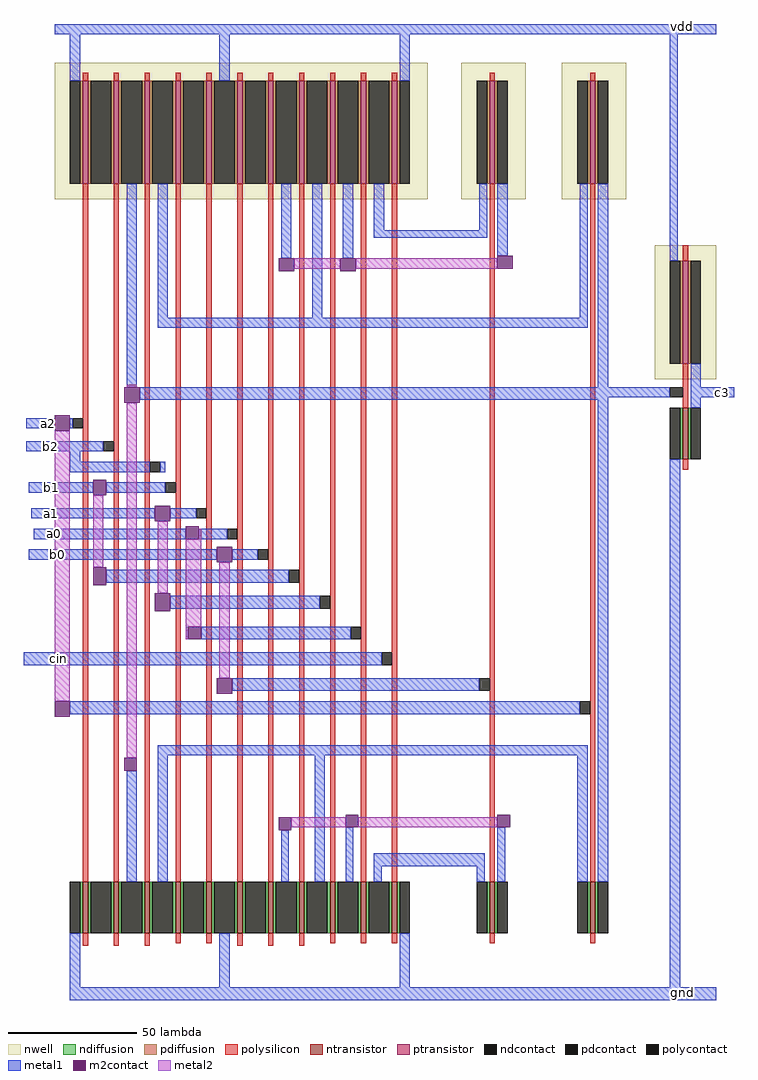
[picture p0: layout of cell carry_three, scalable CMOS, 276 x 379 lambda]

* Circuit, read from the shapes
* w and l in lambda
.subckt carry_three a0 a1 a2 b0 b1 b2 c3 cin gnd vdd
M1 n1 a2 gnd VSUBS nfet w=20 l=2
M2 n2 b2 n1 VSUBS nfet w=20 l=2
M3 n3 b2 n2 VSUBS nfet w=20 l=2
M4 n4 b1 n3 VSUBS nfet w=20 l=2
M5 gnd a1 n4 VSUBS nfet w=20 l=2
M6 n5 a0 gnd VSUBS nfet w=20 l=2
M7 n6 b0 n5 VSUBS nfet w=20 l=2
M8 n3 b1 n6 VSUBS nfet w=20 l=2
M9 n6 a1 n3 VSUBS nfet w=20 l=2
M10 n7 a0 n6 VSUBS nfet w=20 l=2
M11 gnd cin n7 VSUBS nfet w=20 l=2
M12 n6 b0 n7 VSUBS nfet w=20 l=2
M13 n2 a2 n3 VSUBS nfet w=20 l=2
M14 c3 n2 gnd VSUBS nfet w=20 l=2
M15 n8 a2 vdd n9 pfet w=40 l=2
M16 n2 b2 n8 n9 pfet w=40 l=2
M17 n10 b2 n2 n9 pfet w=40 l=2
M18 n11 b1 n10 n9 pfet w=40 l=2
M19 vdd a1 n11 n9 pfet w=40 l=2
M20 n12 a0 vdd n9 pfet w=40 l=2
M21 n13 b0 n12 n9 pfet w=40 l=2
M22 n10 b1 n13 n9 pfet w=40 l=2
M23 n13 a1 n10 n9 pfet w=40 l=2
M24 n14 a0 n13 n9 pfet w=40 l=2
M25 vdd cin n14 n9 pfet w=40 l=2
M26 n13 b0 n14 n15 pfet w=40 l=2
M27 n2 a2 n10 n16 pfet w=40 l=2
M28 c3 n2 vdd n17 pfet w=40 l=2
.ends

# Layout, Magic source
magic
tech scmos
<< nwell >>
rect -193 62 -48 115
rect -35 62 -10 115
rect 4 62 29 115
rect 40 -8 64 44
<< ntransistor >>
rect 51 -39 53 -19
rect -182 -223 -180 -203
rect -170 -223 -168 -203
rect -158 -223 -156 -203
rect -146 -223 -144 -203
rect -134 -223 -132 -203
rect -122 -223 -120 -203
rect -110 -223 -108 -203
rect -98 -223 -96 -203
rect -86 -223 -84 -203
rect -74 -223 -72 -203
rect -62 -223 -60 -203
rect -24 -223 -22 -203
rect 15 -223 17 -203
<< ptransistor >>
rect -182 68 -180 108
rect -170 68 -168 108
rect -158 68 -156 108
rect -146 68 -144 108
rect -134 68 -132 108
rect -122 68 -120 108
rect -110 68 -108 108
rect -98 68 -96 108
rect -86 68 -84 108
rect -74 68 -72 108
rect -62 68 -60 108
rect -24 68 -22 108
rect 15 68 17 108
rect 51 -2 53 38
<< ndiffusion >>
rect 50 -39 51 -19
rect 53 -39 54 -19
rect -183 -223 -182 -203
rect -180 -223 -179 -203
rect -171 -223 -170 -203
rect -168 -223 -167 -203
rect -159 -223 -158 -203
rect -156 -223 -155 -203
rect -147 -223 -146 -203
rect -144 -223 -143 -203
rect -135 -223 -134 -203
rect -132 -223 -131 -203
rect -123 -223 -122 -203
rect -120 -223 -119 -203
rect -111 -223 -110 -203
rect -108 -223 -107 -203
rect -99 -223 -98 -203
rect -96 -223 -95 -203
rect -87 -223 -86 -203
rect -84 -223 -83 -203
rect -75 -223 -74 -203
rect -72 -223 -71 -203
rect -63 -223 -62 -203
rect -60 -223 -59 -203
rect -25 -223 -24 -203
rect -22 -223 -21 -203
rect 14 -223 15 -203
rect 17 -223 18 -203
<< pdiffusion >>
rect -183 68 -182 108
rect -180 68 -179 108
rect -171 68 -170 108
rect -168 68 -167 108
rect -159 68 -158 108
rect -156 68 -155 108
rect -147 68 -146 108
rect -144 68 -143 108
rect -135 68 -134 108
rect -132 68 -131 108
rect -123 68 -122 108
rect -120 68 -119 108
rect -111 68 -110 108
rect -108 68 -107 108
rect -99 68 -98 108
rect -96 68 -95 108
rect -87 68 -86 108
rect -84 68 -83 108
rect -75 68 -74 108
rect -72 68 -71 108
rect -63 68 -62 108
rect -60 68 -59 108
rect -25 68 -24 108
rect -22 68 -21 108
rect 14 68 15 108
rect 17 68 18 108
rect 50 -2 51 38
rect 53 -2 54 38
<< ndcontact >>
rect 46 -39 50 -19
rect 54 -39 58 -19
rect -187 -223 -183 -203
rect -179 -223 -171 -203
rect -167 -223 -159 -203
rect -155 -223 -147 -203
rect -143 -223 -135 -203
rect -131 -223 -123 -203
rect -119 -223 -111 -203
rect -107 -223 -99 -203
rect -95 -223 -87 -203
rect -83 -223 -75 -203
rect -71 -223 -63 -203
rect -59 -223 -55 -203
rect -29 -223 -25 -203
rect -21 -223 -17 -203
rect 10 -223 14 -203
rect 18 -223 22 -203
<< pdcontact >>
rect -187 68 -183 108
rect -179 68 -171 108
rect -167 68 -159 108
rect -155 68 -147 108
rect -143 68 -135 108
rect -131 68 -123 108
rect -119 68 -111 108
rect -107 68 -99 108
rect -95 68 -87 108
rect -83 68 -75 108
rect -71 68 -63 108
rect -59 68 -55 108
rect -29 68 -25 108
rect -21 68 -17 108
rect 10 68 14 108
rect 18 68 22 108
rect 46 -2 50 38
rect 54 -2 58 38
<< polysilicon >>
rect -182 108 -180 111
rect -170 108 -168 111
rect -158 108 -156 111
rect -146 108 -144 111
rect -134 108 -132 111
rect -122 108 -120 111
rect -110 108 -108 111
rect -98 108 -96 111
rect -86 108 -84 111
rect -74 108 -72 111
rect -62 108 -60 111
rect -24 108 -22 111
rect 15 108 17 111
rect -182 -203 -180 68
rect -170 -203 -168 68
rect -158 -203 -156 68
rect -146 -203 -144 68
rect -134 -203 -132 68
rect -122 -203 -120 68
rect -110 -203 -108 68
rect -98 -203 -96 68
rect -86 -203 -84 68
rect -74 -203 -72 68
rect -62 -203 -60 68
rect -24 -203 -22 68
rect 15 -203 17 68
rect 51 38 53 44
rect 51 -19 53 -2
rect 51 -43 53 -39
rect -182 -228 -180 -223
rect -170 -228 -168 -223
rect -158 -228 -156 -223
rect -146 -227 -144 -223
rect -134 -227 -132 -223
rect -122 -228 -120 -223
rect -110 -228 -108 -223
rect -98 -228 -96 -223
rect -86 -227 -84 -223
rect -74 -227 -72 -223
rect -62 -227 -60 -223
rect -24 -227 -22 -223
rect 15 -227 17 -223
<< polycontact >>
rect -186 -27 -182 -23
rect -174 -36 -170 -32
rect -156 -44 -152 -40
rect -150 -52 -146 -48
rect -138 -62 -134 -58
rect -126 -70 -122 -66
rect -114 -78 -110 -74
rect -102 -87 -98 -82
rect -90 -97 -86 -92
rect -78 -109 -74 -104
rect -66 -119 -62 -114
rect -28 -129 -24 -124
rect 11 -138 15 -133
rect 46 -15 51 -11
<< metal1 >>
rect -193 126 64 130
rect -187 108 -183 126
rect -129 108 -125 126
rect -59 108 -55 126
rect -165 -11 -161 68
rect -153 16 -149 68
rect -105 39 -101 68
rect -93 16 -89 68
rect -81 39 -77 68
rect -69 50 -65 68
rect -28 50 -25 68
rect -69 47 -25 50
rect -21 40 -17 68
rect 11 16 14 68
rect -153 12 14 16
rect 18 -11 22 68
rect 46 38 49 126
rect 54 -11 58 -2
rect -160 -15 46 -11
rect 54 -15 71 -11
rect -160 -16 22 -15
rect -204 -27 -193 -23
rect -187 -27 -186 -23
rect -204 -36 -174 -32
rect -187 -40 -183 -36
rect -187 -44 -156 -40
rect -152 -44 -150 -40
rect -203 -52 -178 -48
rect -173 -52 -150 -48
rect -202 -62 -154 -58
rect -148 -62 -138 -58
rect -201 -70 -142 -66
rect -137 -70 -126 -66
rect -203 -78 -130 -74
rect -124 -78 -114 -74
rect -173 -87 -102 -82
rect -148 -97 -90 -92
rect -142 -109 -141 -104
rect -136 -109 -78 -104
rect -205 -119 -66 -114
rect -124 -129 -28 -124
rect -187 -138 11 -133
rect -153 -154 14 -150
rect -165 -203 -161 -160
rect -153 -203 -149 -154
rect -105 -203 -102 -183
rect -92 -203 -88 -154
rect -80 -203 -77 -182
rect -69 -197 -26 -192
rect -69 -203 -66 -197
rect -29 -203 -26 -197
rect -21 -203 -18 -182
rect 10 -203 14 -154
rect 18 -203 22 -16
rect 54 -19 58 -15
rect -187 -244 -183 -223
rect -129 -244 -125 -223
rect -59 -244 -55 -223
rect 46 -244 50 -39
rect -187 -249 64 -244
<< m2contact >>
rect -106 34 -100 39
rect -82 34 -76 39
rect -21 35 -15 40
rect -166 -17 -160 -11
rect -193 -28 -187 -22
rect -178 -53 -173 -47
rect -154 -63 -148 -57
rect -142 -70 -137 -65
rect -130 -79 -124 -73
rect -178 -88 -173 -81
rect -154 -98 -148 -91
rect -141 -109 -136 -104
rect -130 -130 -124 -124
rect -193 -139 -187 -133
rect -166 -160 -161 -155
rect -106 -183 -101 -178
rect -80 -182 -75 -177
rect -21 -182 -16 -177
<< metal2 >>
rect -100 35 -82 39
rect -76 35 -21 39
rect -165 -11 -161 -10
rect -193 -133 -187 -28
rect -178 -81 -174 -53
rect -165 -155 -161 -17
rect -153 -91 -149 -63
rect -137 -70 -136 -66
rect -142 -104 -136 -70
rect -142 -109 -141 -104
rect -129 -124 -125 -79
rect -101 -182 -80 -178
rect -75 -182 -21 -178
<< labels >>
rlabel metal1 51 129 51 129 5 vdd
rlabel metal1 -198 -27 -193 -23 1 a2
rlabel metal1 -197 -36 -192 -32 1 b2
rlabel metal1 -196 -52 -192 -48 1 b1
rlabel metal1 -196 -62 -192 -58 1 a1
rlabel metal1 -195 -70 -191 -66 1 a0
rlabel metal1 -194 -78 -190 -74 1 b0
rlabel metal1 -194 -119 -189 -114 1 cin
rlabel metal1 63 -15 70 -11 7 c3
rlabel metal1 51 -246 51 -246 1 gnd
<< end >>
